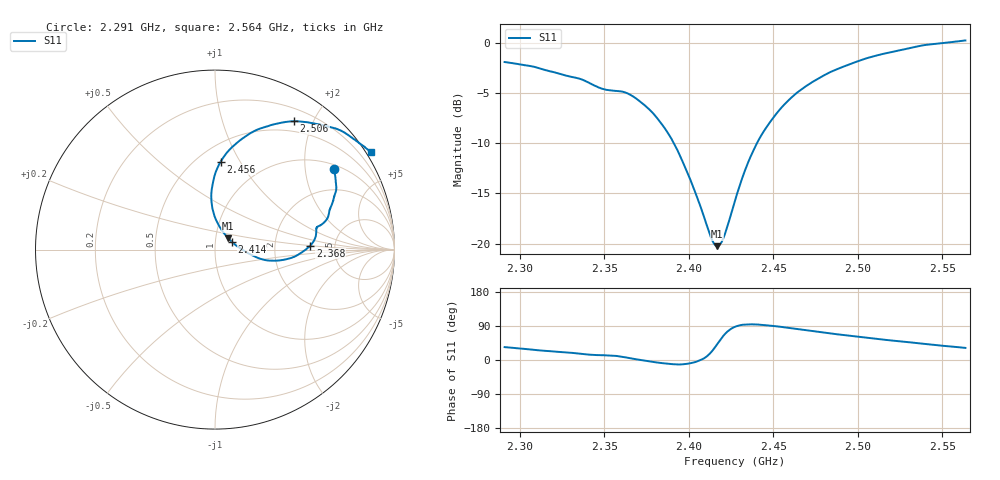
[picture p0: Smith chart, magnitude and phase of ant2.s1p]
!Agilent Technologies,N5230A,MY46400454,A.06.04.21
!Agilent N5230A: A.06.04.21
!Date: Sunday, October 28, 2018 12:14:29
!Correction: S11(Full 1 Port(1))
!S1P File: Measurement: S11:
# Hz S  dB  R 50
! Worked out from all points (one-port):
!   1601 points, 2.291 GHz to 2.564 GHz, reference 50 ohm
!   lowest |S11| = -20.3 dB at 2.417 GHz (marker M1), VSWR 1.21, Z = 57.5 + j7.3 ohm
!   |S11| at or under -10 dB: 2.391 GHz to 2.44 GHz (49.31 MHz wide, 2.04 % of centre)
!   S11 on the Smith chart (normalised r, x): 2.291 GHz: 1.15, +2.85; 2.368 GHz: 3.25, +0.20; 2.414 GHz: 1.20, +0.11; 2.456 GHz: 0.64, +0.83; 2.506 GHz: 0.36, +1.74; 2.564 GHz: -0.16, +3.49
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2.290884e9  -1.94 34.0
2.308445e9  -2.42 26.8
2.324982e9  -3.18 20.7
2.335894e9  -3.64 16.4
2.342373e9  -4.14 13.7
2.350386e9  -4.68 12.5
2.359081e9  -4.85 9.6
2.368118e9  -5.50 2.4
2.381075e9  -7.50 -6.6
2.387895e9  -9.09 -10.1
2.39318e9  -10.71 -11.8
2.401875e9  -14.09 -7.7
2.413981e9  -19.74 24.9
2.416538e9  -20.26 40.4
2.418413e9  -20.09 52.4
2.420459e9  -19.43 64.2
2.427279e9  -15.73 87.7
2.433587e9  -12.55 93.8
2.440407e9  -9.99 93.7
2.447397e9  -8.07 91.0
2.456434e9  -6.18 86.3
2.461378e9  -5.37 83.4
2.479962e9  -3.27 72.4
2.495477e9  -2.15 63.9
2.506218e9  -1.51 58.3
2.529576e9  -0.60 47.2
2.542874e9  -0.19 40.7
2.563675e9  0.20 31.9
